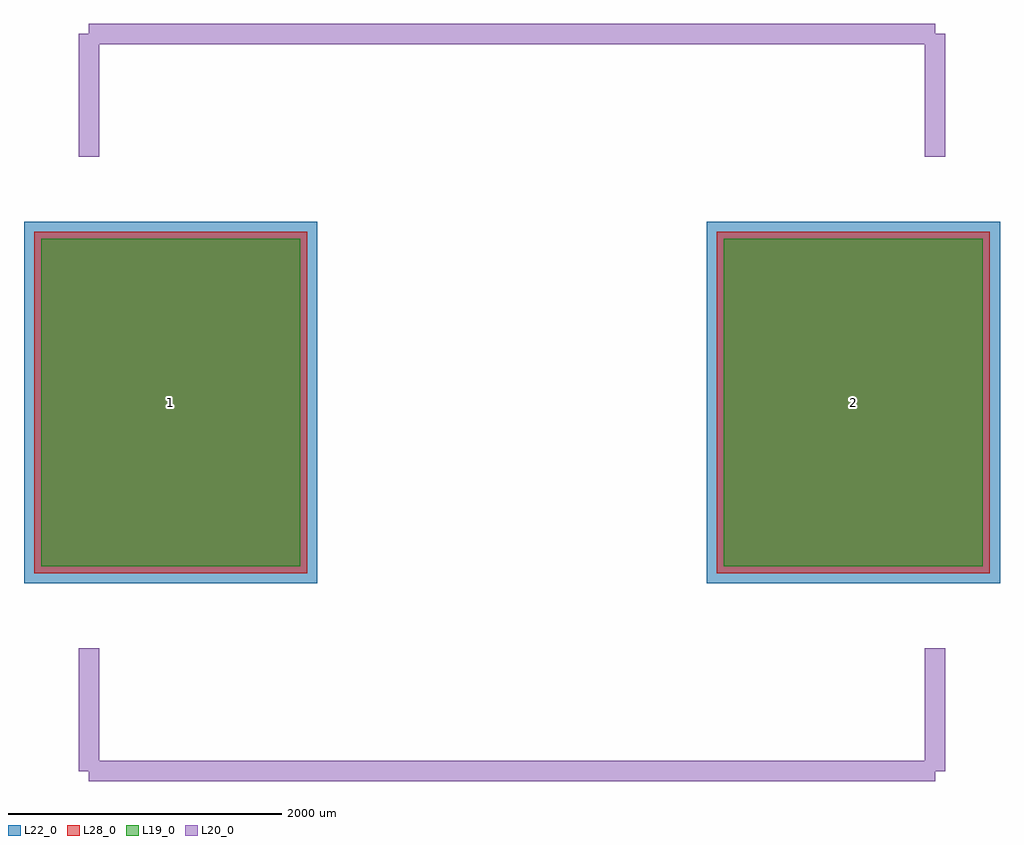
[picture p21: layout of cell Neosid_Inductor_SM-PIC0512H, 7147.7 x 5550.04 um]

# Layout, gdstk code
import gdstk
lib = gdstk.Library(unit=1e-6, precision=1e-09)
def R(c, l, rs):  # rectangles x0, y0, x1, y1
    for r in rs: c.add(gdstk.rectangle(r[:2], r[2:], *l))
L19_0 = (19, 0)
L20_0 = (20, 0)
L22_0 = (22, 0)
L28_0 = (28, 0)

neosid_inductor_sm_pic05 = lib.new_cell('Neosid_Inductor_SM-PIC0512H')
R(neosid_inductor_sm_pic05, L19_0, [(-3448.85,-1199.68,-1549.87,1199.68), (1549.87,-1199.68,3448.85,1199.68)])
R(neosid_inductor_sm_pic05, L22_0, [(-3573.85,-1324.68,-1424.87,1324.68), (1424.87,-1324.68,3573.85,1324.68)])
R(neosid_inductor_sm_pic05, L28_0, [(-3498.85,-1249.68,-1499.87,1249.68), (1499.87,-1249.68,3498.85,1249.68)])
neosid_inductor_sm_pic05.add(gdstk.FlexPath([(-3098.8,2700.02),(-3098.8,1800.86)], 149.998, ends="flush", simple_path=True, layer=20, datatype=0))  # L20_0
neosid_inductor_sm_pic05.add(gdstk.FlexPath([(3098.8,2700.02),(-3098.8,2700.02)], 149.998, ends="flush", simple_path=True, layer=20, datatype=0))  # L20_0
neosid_inductor_sm_pic05.add(gdstk.FlexPath([(3098.8,2700.02),(3098.8,1800.86)], 149.998, ends="flush", simple_path=True, layer=20, datatype=0))  # L20_0
neosid_inductor_sm_pic05.add(gdstk.FlexPath([(-3098.8,-2700.02),(-3098.8,-1800.86)], 149.998, ends="flush", simple_path=True, layer=20, datatype=0))  # L20_0
neosid_inductor_sm_pic05.add(gdstk.FlexPath([(3098.8,-2700.02),(-3098.8,-2700.02)], 149.998, ends="flush", simple_path=True, layer=20, datatype=0))  # L20_0
neosid_inductor_sm_pic05.add(gdstk.FlexPath([(3098.8,-1800.86),(3098.8,-2700.02)], 149.998, ends="flush", simple_path=True, layer=20, datatype=0))  # L20_0
neosid_inductor_sm_pic05.add(gdstk.Label('2', (2499.36,0), layer=28, texttype=0))
neosid_inductor_sm_pic05.add(gdstk.Label('1', (-2499.36,0), layer=28, texttype=0))
neosid_inductor_sm_pic05.add(gdstk.Label('type', (0,-5100.32), layer=9, texttype=0))
neosid_inductor_sm_pic05.add(gdstk.Label('devicename', (0,4201.16), layer=9, texttype=0))

lib.write_gds('Neosid_Inductor_SM-PIC0512H.gds')
